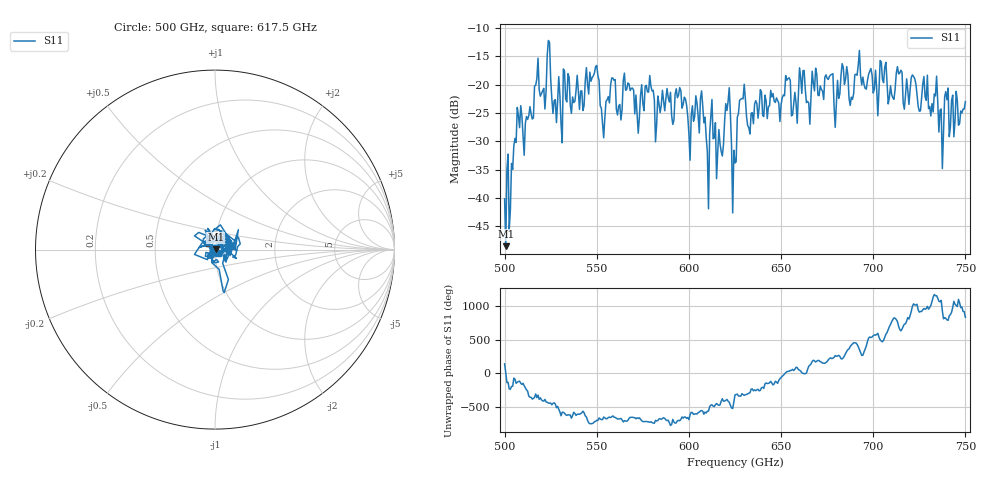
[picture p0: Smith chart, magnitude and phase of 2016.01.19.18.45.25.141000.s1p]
!Created with skrf (http://scikit-rf.org).
# GHz S RI R 50.0
!freq ReS11 ImS11
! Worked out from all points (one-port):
!   401 points, 500 GHz to 750 GHz, reference 50 ohm
!   lowest |S11| = -48.5 dB at 500.6 GHz (marker M1), VSWR 1.01, Z = 50.4 + j0.0684 ohm
!   |S11| at or under -10 dB: start of sweep to end of sweep
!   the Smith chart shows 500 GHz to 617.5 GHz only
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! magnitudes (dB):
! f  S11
! 500 GHz  -40.1
! 500.6 GHz  -48.5
! 508.1 GHz  -27.6
! 511.2 GHz  -26.8
! 517.5 GHz  -19.0
! 523.8 GHz  -12.2
! 526.9 GHz  -22.9
! 531.2 GHz  -30.3
! 549.4 GHz  -16.8
! 553.1 GHz  -26.8
! 558.8 GHz  -18.8
! 562.5 GHz  -23.5
! 593.8 GHz  -22.3
! 600 GHz  -28.7
! 607.5 GHz  -23.8
! 610 GHz  -31.8
! 613.1 GHz  -29.5
! 616.2 GHz  -27.9
! 621.2 GHz  -23.0
! 625 GHz  -33.8
! 628.8 GHz  -22.5
! 656.2 GHz  -25.3
! 687.5 GHz  -23.7
! 691.2 GHz  -18.3
! 718.8 GHz  -21.0
! 733.8 GHz  -22.0
! 736.9 GHz  -24.3
! 750 GHz  -23.0
